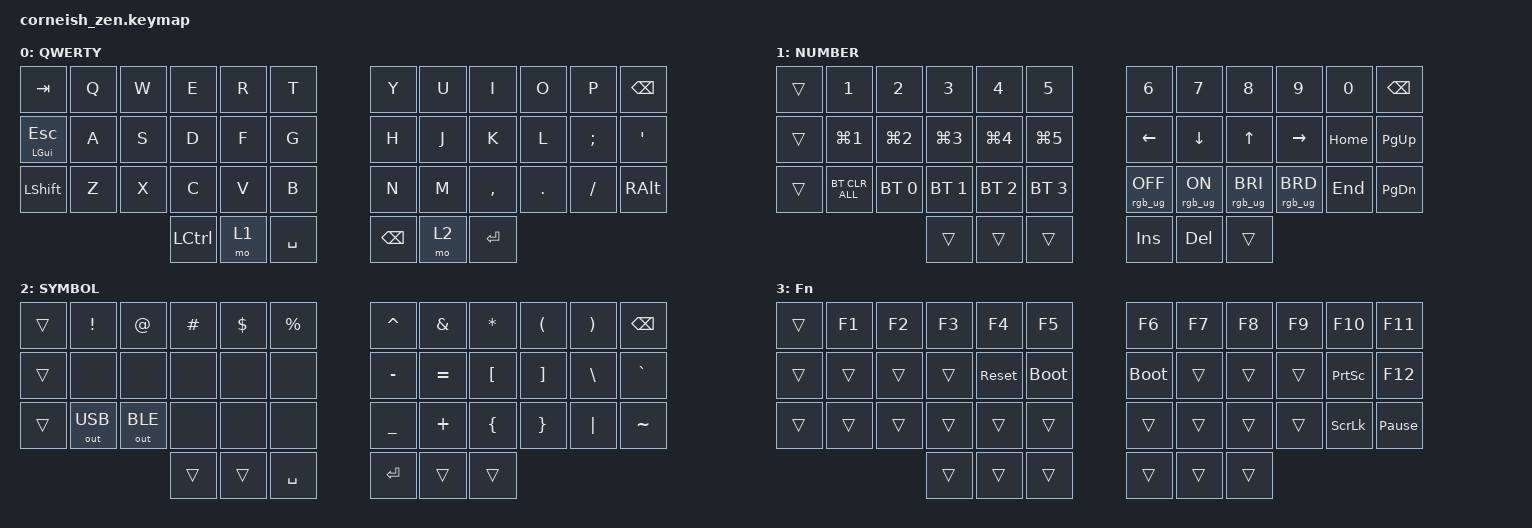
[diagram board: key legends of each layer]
/*
 * Copyright (c) 2020 The ZMK Contributors
 *
 * SPDX-License-Identifier: MIT
 */

#include <behaviors.dtsi>
#include <dt-bindings/zmk/bt.h>
#include <dt-bindings/zmk/ext_power.h>
#include <dt-bindings/zmk/keys.h>
#include <dt-bindings/zmk/outputs.h>
#include <dt-bindings/zmk/rgb.h>

/ {
    chosen {
        zmk,matrix_transform = &default_transform;

        // zmk,matrix_transform = &five_column_transform;
    };
};

/ {
    behaviors {
        td0: td0 {
            compatible = "zmk,behavior-tap-dance";
            label = "TD0";
            #binding-cells = <0>;
            bindings = <&kp LEFT_SHIFT>, <&kp CAPS>;
        };
    };
      conditional_layers {
          compatible = "zmk,conditional-layers";
          tri_layer {
            if-layers = <1 2>;
            then-layer = <3>;
          };
        };

    keymap {
        compatible = "zmk,keymap";

        default_layer {
            display-name = "QWERTY";

            // --------------------------------------------------------------------------------
            // |  TAB |  Q  |  W  |  E  |  R  |  T  |   |  Y  |  U   |  I  |  O  |  P  | BKSP |
            // | CTRL |  A  |  S  |  D  |  F  |  G  |   |  H  |  J   |  K  |  L  |  ;  |  '   | 
            // | SHFT |  Z  |  X  |  C  |  V  |  B  |   |  N  |  M   |  ,  |  .  |  /  | ESC  |
            //                    | GUI | LWR | SPC |   | ENT | RSE  | ALT |

            bindings = <
&kp TAB        &kp Q  &kp W      &kp E  &kp R           &kp T     &kp Y  &kp U  &kp I      &kp O    &kp P     &kp BSPC
&mt LGUI ESC   &kp A  &kp S      &kp D  &kp F           &kp G     &kp H  &kp J  &kp K      &kp L    &kp SEMI  &kp SQT
&kp LEFT_SHIFT &kp Z  &kp X      &kp C  &kp V           &kp B     &kp N  &kp M  &kp COMMA  &kp DOT  &kp FSLH  &kp RALT 
                      &kp LCTRL  &mo 1  &kp SPACE       &kp BSPC  &mo 2  &kp ENTER
            >;
        };

        lower_layer {
            display-name = "NUMBER";

            // -----------------------------------------------------------------------------------------
            // |  TAB |  1  |  2  |  3  |  4  |  5  |   |  6  |  7  |  8  |  9  |  0  | BKSP |
            // | BTCLR| LG1 | LG2 | LG3 | LG4 | LG5 |   | LFT | DWN |  UP | RGT |     |      |
            // | SHFT |     |     |     |     |     |   |     |     |     |     |     |      |
            //                    | GUI |     | SPC |   | ENT |     | ALT |

            bindings = <
&trans  &kp N1          &kp N2        &kp N3        &kp N4       &kp N5          &kp N6           &kp N7           &kp N8           &kp N9           &kp N0    &kp BSPC
&trans  &kp LG(N1)       &kp LG(N2)     &kp LG(N3)     &kp LG(N4)    &kp LG(N5)       &kp LEFT         &kp DOWN         &kp UP           &kp RIGHT        &kp HOME  &kp PG_UP
&trans  &bt BT_CLR_ALL  &bt BT_SEL 0  &bt BT_SEL 1  &bt BT_SEL 2 &bt BT_SEL 3    &rgb_ug RGB_OFF  &rgb_ug RGB_ON   &rgb_ug RGB_BRI  &rgb_ug RGB_BRD  &kp END   &kp PG_DN
                                      &trans        &trans       &trans          &kp INS          &kp DEL          &trans
            >;
        };

        raise_layer {
            display-name = "SYMBOL";

            // -----------------------------------------------------------------------------------------
            // |  TAB |  !  |  @  |  #  |  $  |  %  |   |  ^  |  &  |  *  |  (  |  )  | BKSP |
            // | CTRL |     |     |     |     |     |   |  -  |  =  |  [  |  ]  |  \  |  `   |
            // | SHFT |     |     |     |     |     |   |  _  |  +  |  {  |  }  | "|" |  ~   |
            //                    | GUI |     | SPC |   | ENT |     | ALT |

            bindings = <
&trans  &kp EXCL      &kp AT        &kp HASH  &kp DLLR  &kp PRCNT    &kp CARET  &kp AMPS   &kp ASTRK  &kp LPAR  &kp RPAR  &kp BSPC
&trans  &none         &none         &none     &none     &none        &kp MINUS  &kp EQUAL  &kp LBKT   &kp RBKT  &kp BSLH  &kp GRAVE
&trans  &out OUT_USB  &out OUT_BLE  &none     &none     &none        &kp UNDER  &kp PLUS   &kp LBRC   &kp RBRC  &kp PIPE  &kp TILDE
                                    &trans    &trans    &kp SPACE    &kp RET    &trans     &trans
            >;
        };

        layer_3 {
            display-name = "Fn";
            bindings = <
&trans  &kp F1  &kp F2  &kp F3  &kp F4      &kp F5         &kp F6       &kp F7  &kp F8  &kp F9  &kp F10          &kp F11
&trans  &trans  &trans  &trans  &sys_reset  &bootloader    &bootloader  &trans  &trans  &trans  &kp PRINTSCREEN  &kp F12
&trans  &trans  &trans  &trans  &trans      &trans         &trans       &trans  &trans  &trans  &kp SCROLLLOCK   &kp PAUSE_BREAK
                        &trans  &trans      &trans         &trans       &trans  &trans
            >;
        };
    };
};
